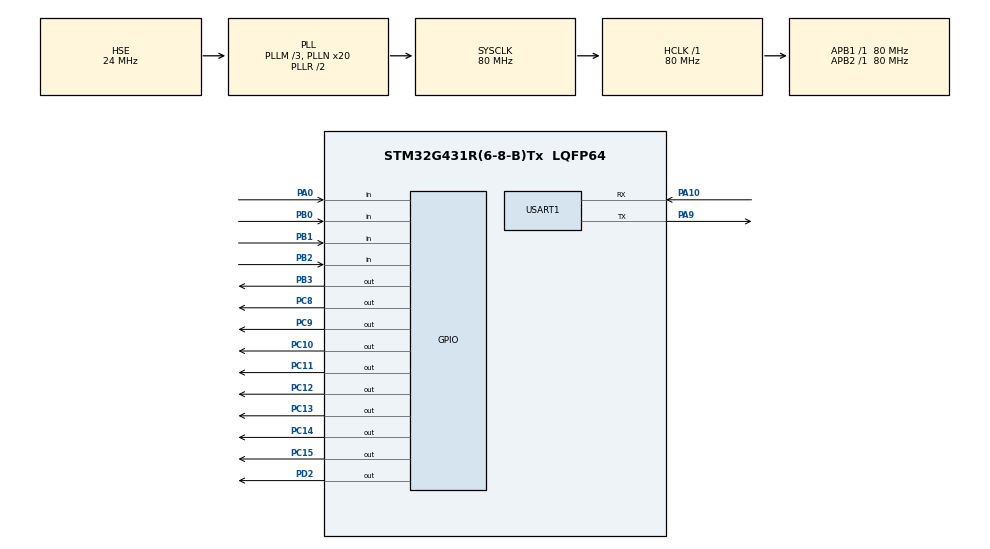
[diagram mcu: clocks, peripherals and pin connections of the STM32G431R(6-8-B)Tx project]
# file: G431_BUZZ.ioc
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Mcu.Family=STM32G4
Mcu.Name=STM32G431R(6-8-B)Tx
Mcu.Package=LQFP64
NVIC.PriorityGroup=NVIC_PRIORITYGROUP_4
NVIC.TIM6_DAC_IRQn=true\:0\:0\:false\:false\:true\:false\:true\:true
PA0.Signal=GPIO_Input
PA10.Mode=Asynchronous
PA10.Signal=USART1_RX
PA13.Mode=Serial_Wire
PA13.Signal=SYS_JTMS-SWDIO
PA14.Mode=Serial_Wire
PA14.Signal=SYS_JTCK-SWCLK
PA9.Mode=Asynchronous
PA9.Signal=USART1_TX
PB0.Signal=GPIO_Input
PB1.Signal=GPIO_Input
PB2.Signal=GPIO_Input
PB3.PinState=GPIO_PIN_SET
PB3.Signal=GPIO_Output
PC10.PinState=GPIO_PIN_SET
PC10.Signal=GPIO_Output
PC11.PinState=GPIO_PIN_SET
PC11.Signal=GPIO_Output
PC12.PinState=GPIO_PIN_SET
PC12.Signal=GPIO_Output
PC13.PinState=GPIO_PIN_SET
PC13.Signal=GPIO_Output
PC14-OSC32_IN.PinState=GPIO_PIN_SET
PC14-OSC32_IN.Signal=GPIO_Output
PC15-OSC32_OUT.PinState=GPIO_PIN_SET
PC15-OSC32_OUT.Signal=GPIO_Output
PC8.PinState=GPIO_PIN_SET
PC8.Signal=GPIO_Output
PC9.PinState=GPIO_PIN_SET
PC9.Signal=GPIO_Output
PD2.PinState=GPIO_PIN_SET
PD2.Signal=GPIO_Output
PF0-OSC_IN.Mode=HSE-External-Oscillator
PF0-OSC_IN.Signal=RCC_OSC_IN
PF1-OSC_OUT.Mode=HSE-External-Oscillator
PF1-OSC_OUT.Signal=RCC_OSC_OUT
ProjectManager.HeapSize=0x200
ProjectManager.StackSize=0x400
ProjectManager.TargetToolchain=MDK-ARM V5
RCC.ADC12Freq_Value=80000000
RCC.AHBFreq_Value=80000000
RCC.APB1Freq_Value=80000000
RCC.APB1TimFreq_Value=80000000
RCC.APB2Freq_Value=80000000
RCC.APB2TimFreq_Value=80000000
RCC.CortexFreq_Value=80000000
RCC.EXTERNAL_CLOCK_VALUE=12288000
RCC.HCLKFreq_Value=80000000
RCC.HSE_VALUE=24000000
RCC.HSI48_VALUE=48000000
RCC.HSI_VALUE=16000000
RCC.LSE_VALUE=32768
RCC.PLLM=RCC_PLLM_DIV3
RCC.PLLN=20
RCC.PLLSourceVirtual=RCC_PLLSOURCE_HSE
RCC.SYSCLKFreq_VALUE=80000000
RCC.SYSCLKSource=RCC_SYSCLKSOURCE_PLLCLK
RCC.USBFreq_Value=80000000
RCC.VCOOutputFreq_Value=160000000
RealThread.RT-Thread.3.1.5.RTOSJjkernel=true
TIM6.PeriodNoDither=10000-1
TIM6.Prescaler=80-1
USART1.VirtualMode-Asynchronous=VM_ASYNC
VP_RealThread.RT-Thread_VS_RTOSJjkernel_3.1.5_3.1.5.Mode=RTOSJjkernel
VP_SYS_VS_DBSignals.Mode=DisableDeadBatterySignals
VP_TIM6_VS_ClockSourceINT.Mode=Enable_Timer
board=custom

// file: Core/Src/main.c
/* USER CODE BEGIN Header */
/**
  ******************************************************************************
  * @file           : main.c
  * @brief          : Main program body
  ******************************************************************************
  * @attention
  *
  * <h2><center>&copy; Copyright (c) 2022 STMicroelectronics.
  * All rights reserved.</center></h2>
  *
  * This software component is licensed by ST under BSD 3-Clause license,
  * the "License"; You may not use this file except in compliance with the
  * License. You may obtain a copy of the License at:
  *                        opensource.org/licenses/BSD-3-Clause
  *
  ******************************************************************************
  */
/* USER CODE END Header */
#include "main.h"
#include "tim.h"
#include "usart.h"
#include "gpio.h"
#include "rtthread.h"

/* USER CODE BEGIN PTD */
typedef enum
{
	KEY_UP = 0,//按键抬起
	KEY_DEBOUNCE,//按键消抖
	KEY_WAIT_RELEASE//按键等待释放
}KEY_STATE;

 //线程1--动态线程控制LED
/* 定义线程控制块 */
static rt_thread_t led1_thread = RT_NULL;
static rt_thread_t BUZZ_thread = RT_NULL;
 //线程2--动态线程检测按键
/* 定义线程控制块 */
static rt_thread_t key_thread = RT_NULL;

static void led1_thread_entry(void* parameter);
static void key_thread_entry(void* parameter);

/* USER CODE END PTD */

/* USER CODE BEGIN PD */
// GPIO输入输出宏定义
#define B1 HAL_GPIO_ReadPin(GPIOB, GPIO_PIN_0)
#define B2 HAL_GPIO_ReadPin(GPIOB, GPIO_PIN_1)
#define B3 HAL_GPIO_ReadPin(GPIOB, GPIO_PIN_2)
#define B4 HAL_GPIO_ReadPin(GPIOA, GPIO_PIN_0)

#define BUZZ_ON HAL_GPIO_WritePin(GPIOB, GPIO_PIN_3, GPIO_PIN_RESET)
#define BUZZ_OFF HAL_GPIO_WritePin(GPIOB, GPIO_PIN_3, GPIO_PIN_SET)

#define LED1_ON HAL_GPIO_WritePin(GPIOC, GPIO_PIN_8, GPIO_PIN_RESET);
#define LED1_OFF HAL_GPIO_WritePin(GPIOC, GPIO_PIN_8, GPIO_PIN_SET);

/* USER CODE END PD */

/* USER CODE BEGIN PV */

uint8_t KEY_Value=0; //按键值
KEY_STATE KeyState=KEY_UP;  //按键状态指示变量，初值为按键抬起状态
volatile uint8_t KeyFlag=0;  //按键有效标志，0：无效；1：有效
uint32_t KEY_PressTime=20;

/* USER CODE END PV */

void SystemClock_Config(void);
/* USER CODE BEGIN PFP */
void KeyScan(void);
static void BUZZ_thread_entry(void* parameter);
static void led1_thread_entry(void* parameter);
/* USER CODE END PFP */

int main(void)
{

  MX_GPIO_Init();
  MX_TIM6_Init();
  MX_USART1_UART_Init();

  	HAL_TIM_Base_Start_IT(&htim6);//使能定时器6的更新中断，启动定时器6

   led1_thread =                          /* 线程控制块指针 */
    rt_thread_create( "led1",              /* 线程名字 */
                      led1_thread_entry,   /* 线程入口函数 */
                      RT_NULL,             /* 线程入口函数参数 */
                      512,                 /* 线程栈大小 */
                      3,                   /* 线程的优先级 */
                      20);                 /* 线程时间片 */

   BUZZ_thread =                          /* 线程控制块指针 */
    rt_thread_create( "BUZZ",              /* 线程名字 */
                      BUZZ_thread_entry,   /* 线程入口函数 */
                      RT_NULL,             /* 线程入口函数参数 */
                      512,                 /* 线程栈大小 */
                      3,                   /* 线程的优先级 */
                      20);                 /* 线程时间片 */

	key_thread =                          /* 线程控制块指针 */
    rt_thread_create( "key",              /* 线程名字 */
                      key_thread_entry,   /* 线程入口函数 */
                      RT_NULL,             /* 线程入口函数参数 */
                      512,                 /* 线程栈大小 */
                      2,                   /* 线程的优先级 */
                      20);                 /* 线程时间片 */

    /* 启动线程，开启调度 */
	rt_thread_startup(led1_thread);
	rt_thread_startup(BUZZ_thread);
	rt_thread_startup(key_thread);

}

void SystemClock_Config(void)
{
  RCC_OscInitTypeDef RCC_OscInitStruct = {0};
  RCC_ClkInitTypeDef RCC_ClkInitStruct = {0};
  RCC_PeriphCLKInitTypeDef PeriphClkInit = {0};

  /** Configure the main internal regulator output voltage
  */
  HAL_PWREx_ControlVoltageScaling(PWR_REGULATOR_VOLTAGE_SCALE1);
  /** Initializes the RCC Oscillators according to the specified parameters
  * in the RCC_OscInitTypeDef structure.
  */
  RCC_OscInitStruct.OscillatorType = RCC_OSCILLATORTYPE_HSE;
  RCC_OscInitStruct.HSEState = RCC_HSE_ON;
  RCC_OscInitStruct.PLL.PLLState = RCC_PLL_ON;
  RCC_OscInitStruct.PLL.PLLSource = RCC_PLLSOURCE_HSE;
  RCC_OscInitStruct.PLL.PLLM = RCC_PLLM_DIV3;
  RCC_OscInitStruct.PLL.PLLN = 20;
  RCC_OscInitStruct.PLL.PLLP = RCC_PLLP_DIV2;
  RCC_OscInitStruct.PLL.PLLQ = RCC_PLLQ_DIV2;
  RCC_OscInitStruct.PLL.PLLR = RCC_PLLR_DIV2;
  if (HAL_RCC_OscConfig(&RCC_OscInitStruct) != HAL_OK)
  {
    Error_Handler();
  }
  /** Initializes the CPU, AHB and APB buses clocks
  */
  RCC_ClkInitStruct.ClockType = RCC_CLOCKTYPE_HCLK|RCC_CLOCKTYPE_SYSCLK
                              |RCC_CLOCKTYPE_PCLK1|RCC_CLOCKTYPE_PCLK2;
  RCC_ClkInitStruct.SYSCLKSource = RCC_SYSCLKSOURCE_PLLCLK;
  RCC_ClkInitStruct.AHBCLKDivider = RCC_SYSCLK_DIV1;
  RCC_ClkInitStruct.APB1CLKDivider = RCC_HCLK_DIV1;
  RCC_ClkInitStruct.APB2CLKDivider = RCC_HCLK_DIV1;

  if (HAL_RCC_ClockConfig(&RCC_ClkInitStruct, FLASH_LATENCY_2) != HAL_OK)
  {
    Error_Handler();
  }
  /** Initializes the peripherals clocks
  */
  PeriphClkInit.PeriphClockSelection = RCC_PERIPHCLK_USART1;
  PeriphClkInit.Usart1ClockSelection = RCC_USART1CLKSOURCE_PCLK2;
  if (HAL_RCCEx_PeriphCLKConfig(&PeriphClkInit) != HAL_OK)
  {
    Error_Handler();
  }
}

/* USER CODE BEGIN 4 */

static void led1_thread_entry(void* parameter)
{
	while (1)
	{
		HAL_GPIO_WritePin(GPIOC, GPIO_PIN_8, GPIO_PIN_RESET);
		rt_kprintf("led_thread running, led1 on\r\n");
		rt_thread_delay(300);   /* 延时500个tick */
		HAL_GPIO_WritePin(GPIOC, GPIO_PIN_8, GPIO_PIN_SET);
		rt_kprintf("led_thread running, led1 off\r\n");
		rt_thread_delay(300);   /* 延时500个tick */
	}
}
static void BUZZ_thread_entry(void* parameter)
{
	while (1)
	{
		BUZZ_ON;
		rt_kprintf("BUZZ_thread running, BUZZ on\r\n");
		rt_thread_delay(300);   /* 延时500个tick */
		BUZZ_OFF;
		rt_kprintf("BUZZ_thread running, BUZZ off\r\n");
		rt_thread_delay(300);   /* 延时500个tick */
	}
}

void HAL_TIM_PeriodElapsedCallback(TIM_HandleTypeDef *htim)
{
	if (htim->Instance == htim6.Instance)
	{
		KeyScan(); //调用按键扫描函数
	}
}

static void key_thread_entry(void* parameter)
{
	rt_err_t uwRet = RT_EOK;
	while (1)
	{
		if (KeyFlag==1)
		{
			KeyFlag=0;

			if (KEY_Value==1)
				{
					rt_kprintf("挂起LED1线程！\n");
					uwRet = rt_thread_suspend(led1_thread);
					if(RT_EOK==uwRet)
					{
						rt_kprintf("挂起LED1线程成功！\n");
					}
					else
					{
						rt_thread_delay(3000);
						while(1)
						{

							rt_kprintf("挂起LED1线程失败！失败代码： 0x%1x\n", uwRet);
							uwRet = rt_thread_suspend(led1_thread);
							if(RT_EOK==uwRet)
							{
								rt_kprintf("挂起LED1线程成功！\n");
								break;
							}
						}
					}
				}
			else if(KEY_Value==2)
			{
					rt_kprintf("恢复LED1线程！\n");
					uwRet = rt_thread_resume(led1_thread);
					if(RT_EOK==uwRet)
					{
						rt_kprintf("恢复LED1线程成功！\n");
					}
					else
					{
						rt_kprintf("恢复LED1线程失败！失败代码： 0x%1x\n", uwRet);
					}
			}
		}

	rt_thread_mdelay(20);
	}
}

////===========================四个按键，按键1可以根据按键时间对应2个不同的功能=================================
void KeyScan(void)
{
		switch(KeyState)
		{
			case KEY_UP: //按键抬起状态
			{
				//读到低电平，转换到按键消抖状态
				if((B1==GPIO_PIN_RESET)||(B2==GPIO_PIN_RESET)||(B3==GPIO_PIN_RESET)||(B4==GPIO_PIN_RESET))
				{
					KeyState= KEY_DEBOUNCE;
				}
				break;
			}

			case KEY_DEBOUNCE: //按键消抖状态
			{
				// 读到低电平，转换到按键等待等待释放状态，并设置按键有效标志
				if ((B1==GPIO_PIN_RESET)||(B2==GPIO_PIN_RESET)||(B3==GPIO_PIN_RESET)||(B4==GPIO_PIN_RESET))
				{
					KeyState = KEY_WAIT_RELEASE;
//					KeyFlag = 1; //设置按键有效标志

					if (B1==GPIO_PIN_RESET) KEY_Value=1;
					else if (B2==GPIO_PIN_RESET) KEY_Value=2;
					else if (B3==GPIO_PIN_RESET) KEY_Value=3;
					else if (B4==GPIO_PIN_RESET) KEY_Value=4;

				}
				//读到高电平，表明是干扰信号，转换到按键抬起状态
				else
				{
					KeyState = KEY_UP;
				}

				break;
			}
			case KEY_WAIT_RELEASE: //按键等待释放状态
			{

				//读到低电平，说明按键仍然处于按下的状态，按键时间增加10ms
				if((B1==GPIO_PIN_RESET)||(B2==GPIO_PIN_RESET)||(B3==GPIO_PIN_RESET)||(B4==GPIO_PIN_RESET))
				{
					KEY_PressTime = KEY_PressTime +10;
				}
				//读到高电平，说明按键释放，转换到按键抬起状态
				else
				{
					KeyState = KEY_UP;
					KeyFlag = 1; //设置按键有效标志
				}
				break;

			}
			default: break;
		}
}

/* USER CODE END 4 */

void Error_Handler(void)
{
  __disable_irq();
  while (1)
  {
  }
}

/************************ (C) COPYRIGHT STMicroelectronics *****END OF FILE****/
